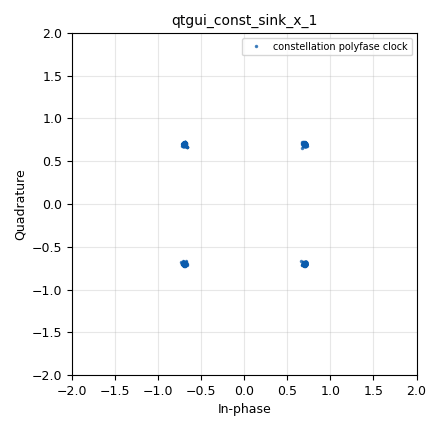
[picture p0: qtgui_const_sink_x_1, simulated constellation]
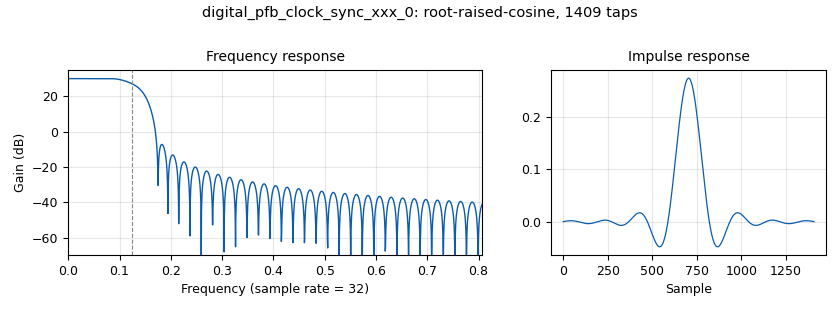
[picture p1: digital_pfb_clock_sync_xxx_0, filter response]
options:
  parameters:
    author: art3m1sf0wl
    generate_options: qt_gui
    id: test_4_QPSK
    output_language: python
    title: Not titled yet
  states: {}

blocks:
- name: excess_bw
  id: variable
  parameters:
    value: '350e-3'
  states: {}
- name: nfilts
  id: variable
  parameters:
    value: '32'
  states: {}
- name: qpsk
  id: variable_constellation_rect
  parameters:
    const_points: '[0.707+0.707j, -0.707+0.707j, -0.707-0.707j, 0.707-0.707j]'
    imag_sect: '2'
    real_sect: '2'
    rot_sym: '4'
    sym_map: '[0, 1, 3, 2]'
    w_imag_sect: '1'
    w_real_sect: '1'
  states: {}
- name: rrc_tasp
  id: variable
  parameters:
    value: firdes.root_raised_cosine(nfilts,nfilts,1.0/float(sps),excess_bw,11*sps*nfilts)
  states: {}
- name: samp_rate
  id: variable
  parameters:
    value: '44100'
  states: {}
- name: sps
  id: variable
  parameters:
    value: '4'
  states: {}
- name: analog_random_source_x_0
  id: analog_random_source_x
  parameters:
    max: '256'
    min: '0'
    num_samps: '10000'
    repeat: 'True'
    type: byte
  states: {}
- name: blocks_throttle_0
  id: blocks_throttle
  parameters:
    samples_per_second: samp_rate
    type: complex
  states: {}
- name: channels_channel_model_0
  id: channels_channel_model
  parameters:
    epsilon: '1.0'
    freq_offset: '0.0'
    noise_voltage: '100e-6'
    seed: '0'
    taps: '1'
  states: {}
- name: digital_constellation_modulator_0
  id: digital_constellation_modulator
  parameters:
    constellation: qpsk
    differential: 'True'
    excess_bw: excess_bw
    samples_per_symbol: '4'
  states: {}
- name: digital_costas_loop_cc_0
  id: digital_costas_loop_cc
  parameters:
    order: '4'
    w: '62.8e-3'
  states: {}
- name: digital_pfb_clock_sync_xxx_0
  id: digital_pfb_clock_sync_xxx
  parameters:
    filter_size: '32'
    init_phase: '16'
    loop_bw: '62.8e-3'
    max_dev: '1.5'
    osps: '1'
    sps: sps*1.001
    taps: rrc_tasp
    type: ccf
  states: {}
- name: qtgui_const_sink_x_0
  id: qtgui_const_sink_x
  parameters:
    gui_hint: 1,1,1,1
    label1: '"constellation channel model"'
    size: '1024'
    type: complex
  states: {state: disabled}
- name: qtgui_const_sink_x_1
  id: qtgui_const_sink_x
  parameters:
    label1: '"constellation polyfase clock"'
    size: '1024'
    type: complex
  states: {}
- name: qtgui_freq_sink_x_0
  id: qtgui_freq_sink_x
  parameters:
    bw: samp_rate
    fc: '0'
    fftsize: '1024'
    type: complex
  states: {state: disabled}
- name: qtgui_time_sink_x_0
  id: qtgui_time_sink_x
  parameters:
    size: '1024'
    srate: samp_rate
    type: complex
  states: {state: disabled}

connections:
- [analog_random_source_x_0, '0', digital_constellation_modulator_0, '0']
- [blocks_throttle_0, '0', channels_channel_model_0, '0']
- [channels_channel_model_0, '0', digital_pfb_clock_sync_xxx_0, '0']
- [channels_channel_model_0, '0', qtgui_const_sink_x_0, '0']
- [channels_channel_model_0, '0', qtgui_freq_sink_x_0, '0']
- [channels_channel_model_0, '0', qtgui_time_sink_x_0, '0']
- [digital_constellation_modulator_0, '0', blocks_throttle_0, '0']
- [digital_costas_loop_cc_0, '0', qtgui_const_sink_x_1, '0']
- [digital_pfb_clock_sync_xxx_0, '0', digital_costas_loop_cc_0, '0']

metadata:
  file_format: 1
  grc_version: 3.10.5.1
